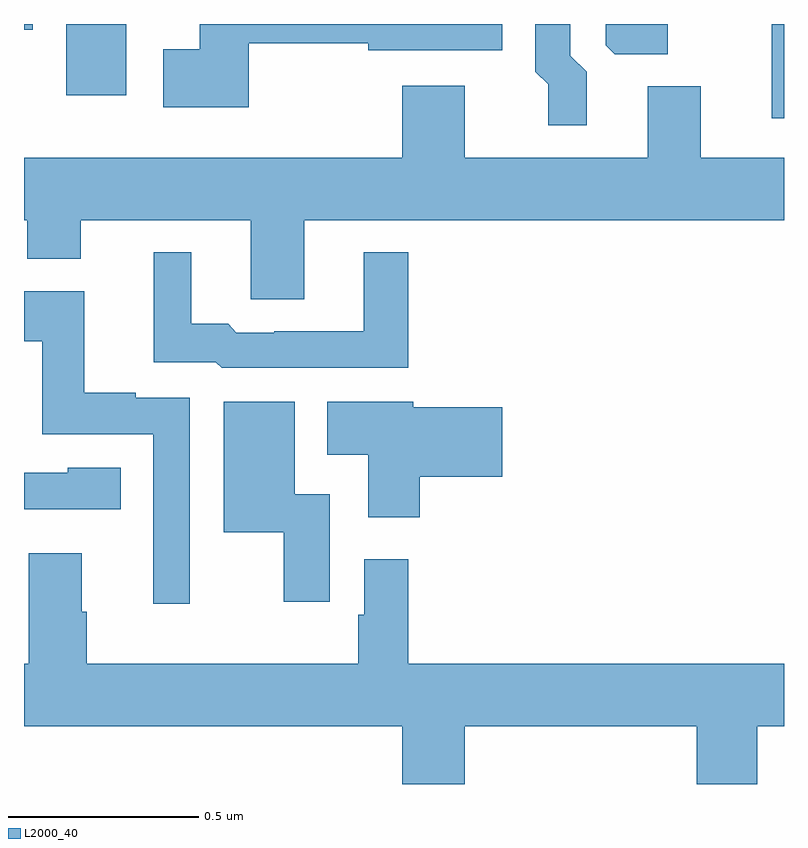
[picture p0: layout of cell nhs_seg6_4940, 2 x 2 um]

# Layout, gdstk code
import gdstk
lib = gdstk.Library(unit=1e-6, precision=1e-09)
def R(c, l, rs):  # rectangles x0, y0, x1, y1
    for r in rs: c.add(gdstk.rectangle(r[:2], r[2:], *l))
def P(c, l, *ps):  # polygons
    for p in ps: c.add(gdstk.Polygon(p, *l))
L2000_40 = (2000, 40)

nhs_seg6_4940 = lib.new_cell('nhs_seg6_4940')
R(nhs_seg6_4940, L2000_40, [(177.968,966.252,178,966.5), (176.111,966.312,176.269,966.5), (176,966.485,176.023,966.5)])
P(nhs_seg6_4940, L2000_40, [(177.694,966.5),(177.531,966.5),(177.531,966.444),(177.555,966.421),(177.694,966.421)],
  [(176.592,966.45),(176.906,966.45),(176.906,966.431),(177.259,966.431),(177.259,966.5),(176.462,966.5),(176.462,966.433),(176.367,966.433),(176.367,966.281),(176.592,966.281)],
  [(177.481,966.374),(177.438,966.417),(177.438,966.5),(177.345,966.5),(177.345,966.374),(177.379,966.341),(177.379,966.234),(177.481,966.234)],
  [(176.737,965.984),(178,965.984),(178,966.148),(177.781,966.148),(177.781,966.336),(177.641,966.336),(177.641,966.148),(177.16,966.148),(177.16,966.337),(176.996,966.337),(176.996,966.148),(176,966.148),(176,965.984),(176.009,965.984),(176.009,965.882),(176.149,965.882),(176.149,965.984),(176.597,965.984),(176.597,965.776),(176.737,965.776)],
  [(177.011,965.899),(176.894,965.899),(176.894,965.691),(176.659,965.691),(176.659,965.688),(176.559,965.688),(176.537,965.711),(176.44,965.711),(176.44,965.899),(176.342,965.899),(176.342,965.61),(176.505,965.61),(176.52,965.595),(177.011,965.595)],
  [(176.436,965.517),(176.294,965.517),(176.294,965.53),(176.158,965.53),(176.158,965.797),(176,965.797),(176,965.665),(176.048,965.665),(176.048,965.421),(176.34,965.421),(176.34,964.974),(176.436,964.974)],
  [(177.041,965.309),(177.259,965.309),(177.259,965.492),(177.024,965.492),(177.024,965.506),(176.798,965.506),(176.798,965.366),(176.906,965.366),(176.906,965.202),(177.041,965.202)],
  [(176.805,965.263),(176.713,965.263),(176.713,965.506),(176.525,965.506),(176.525,965.162),(176.684,965.162),(176.684,964.98),(176.805,964.98)],
  [(176.255,965.332),(176.115,965.332),(176.115,965.319),(176,965.319),(176,965.223),(176.255,965.223)],
  [(177.16,964.652),(177.77,964.652),(177.77,964.5),(177.93,964.5),(177.93,964.652),(178,964.652),(178,964.816),(177.011,964.816),(177.011,965.092),(176.895,965.092),(176.895,964.946),(176.879,964.946),(176.879,964.816),(176.165,964.816),(176.165,964.953),(176.152,964.953),(176.152,965.107),(176.012,965.107),(176.012,964.816),(176,964.816),(176,964.652),(176.996,964.652),(176.996,964.5),(177.16,964.5)])

lib.write_gds('nhs_seg6_4940.gds')
